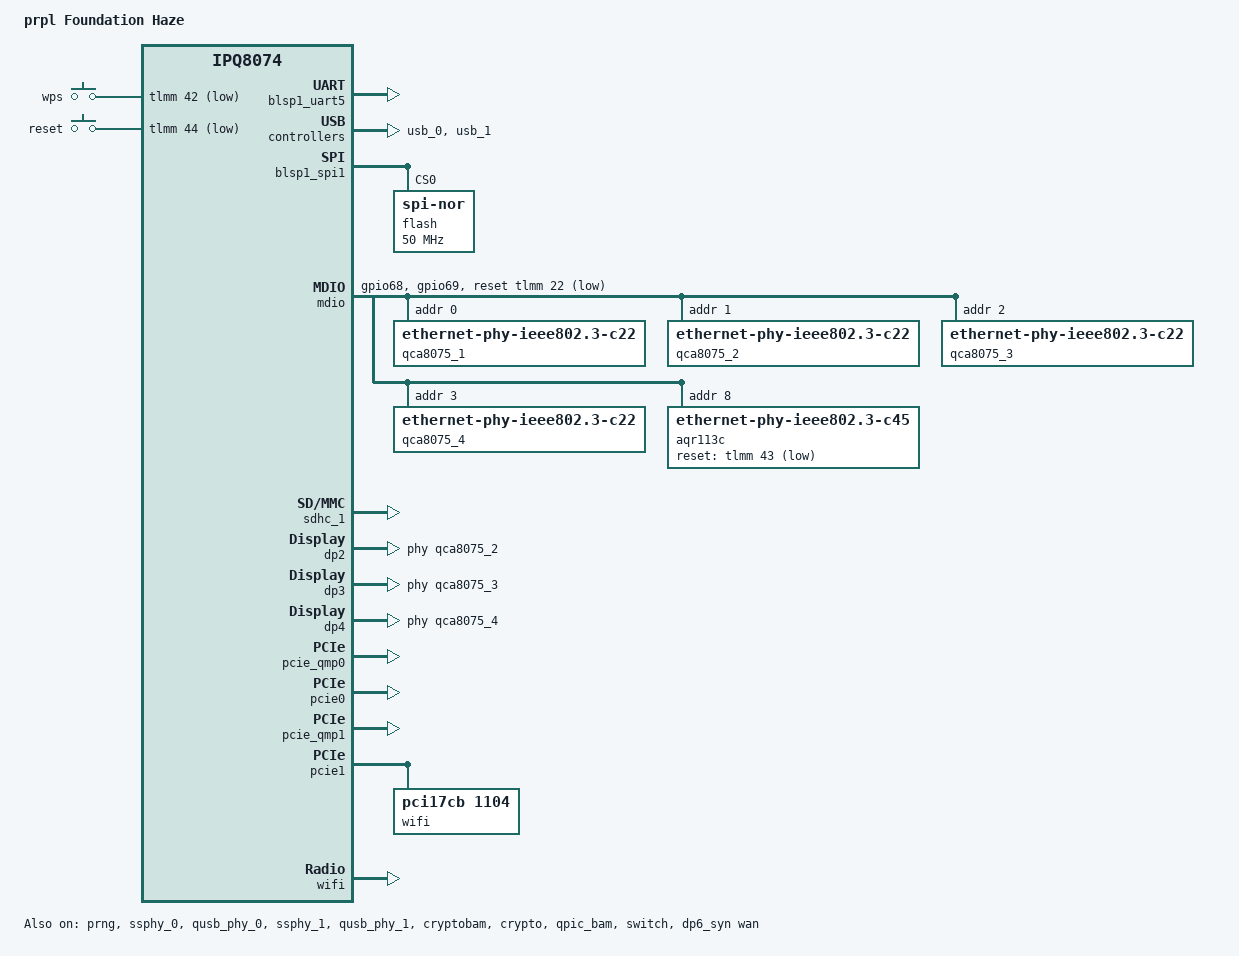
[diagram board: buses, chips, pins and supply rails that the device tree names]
// SPDX-License-Identifier: GPL-2.0-or-later OR MIT

/dts-v1/;

#include "ipq8074.dtsi"
#include "ipq8074-hk-cpu.dtsi"
#include "ipq8074-ess.dtsi"
#include "ipq8074-nss.dtsi"
#include <dt-bindings/gpio/gpio.h>
#include <dt-bindings/input/input.h>
#include <dt-bindings/leds/common.h>

/ {
	model = "prpl Foundation Haze";
	compatible = "prpl,haze", "qcom,ipq8074";

	aliases {
		serial0 = &blsp1_uart5;
		/* Aliases are required by U-Boot to patch MAC addresses */
		ethernet0 = &dp6_syn;
		ethernet1 = &dp4;
		ethernet2 = &dp3;
		ethernet3 = &dp2;
		label-mac-device = &dp6_syn;
	};

	chosen {
		stdout-path = "serial0:115200n8";
	};

	keys {
		compatible = "gpio-keys";
		pinctrl-0 = <&button_pins>;
		pinctrl-names = "default";

		wps-button {
			label = "wps";
			gpios = <&tlmm 42 GPIO_ACTIVE_LOW>;
			linux,code = <KEY_WPS_BUTTON>;
		};

		reset-button {
			label = "reset";
			gpios = <&tlmm 44 GPIO_ACTIVE_LOW>;
			linux,code = <KEY_RESTART>;
		};
	};
};

&tlmm {
	mdio_pins: mdio-state {
		mdc-pins {
			pins = "gpio68";
			function = "mdc";
			drive-strength = <8>;
			bias-pull-up;
		};

		mdio-pins {
			pins = "gpio69";
			function = "mdio";
			drive-strength = <8>;
			bias-pull-up;
		};
	};

	button_pins: button-state {
		wps-pins {
			pins = "gpio42";
			function = "gpio";
			drive-strength = <8>;
			bias-pull-up;
		};

		rst-pins {
			pins = "gpio44";
			function = "gpio";
			drive-strength = <8>;
			bias-pull-up;
		};
	};
};

&blsp1_uart5 {
	status = "okay";
};

&prng {
	status = "okay";
};

&ssphy_0 {
	status = "okay";
};

&qusb_phy_0 {
	status = "okay";
};

&ssphy_1 {
	status = "okay";
};

&qusb_phy_1 {
	status = "okay";
};

&usb_0 {
	status = "okay";
};

&usb_1 {
	status = "okay";
};

&cryptobam {
	status = "okay";
};

&crypto {
	status = "okay";
};

&qpic_bam {
	status = "okay";
};

&blsp1_spi1 {
	pinctrl-0 = <&spi_0_pins>;
	pinctrl-names = "default";
	cs-gpios = <0>;
	status = "okay";

	flash@0 {
		#address-cells = <1>;
		#size-cells = <1>;
		reg = <0>;
		compatible = "jedec,spi-nor";
		spi-max-frequency = <50000000>;

		partitions {
			compatible = "qcom,smem-part";
		};
	};
};

&mdio {
	status = "okay";

	pinctrl-0 = <&mdio_pins>;
	pinctrl-names = "default";
	reset-gpios = <&tlmm 22 GPIO_ACTIVE_LOW>;

	qca8075_1: ethernet-phy@0 {
		compatible = "ethernet-phy-ieee802.3-c22";
		reg = <0>;
	};

	qca8075_2: ethernet-phy@1 {
		compatible = "ethernet-phy-ieee802.3-c22";
		reg = <1>;
	};

	qca8075_3: ethernet-phy@2 {
		compatible = "ethernet-phy-ieee802.3-c22";
		reg = <2>;
	};

	qca8075_4: ethernet-phy@3 {
		compatible = "ethernet-phy-ieee802.3-c22";
		reg = <3>;
	};

	aqr113c: ethernet-phy@5 {
		compatible ="ethernet-phy-ieee802.3-c45";
		reg = <8>;
		reset-gpios = <&tlmm 43 GPIO_ACTIVE_LOW>;
	};
};

&sdhc_1 {
	status = "okay";

	vqmmc-supply = <&l11>;
};

&switch {
	status = "okay";

	switch_cpu_bmp = <0x1>;  /* cpu port bitmap */
	switch_lan_bmp = <0x1e>; /* lan port bitmap */
	switch_wan_bmp = <0x60>; /* wan port bitmap */
	switch_mac_mode = <0x0>; /* mac mode for uniphy instance0*/
	switch_mac_mode1 = <0xe>; /* mac mode for uniphy instance1*/
	switch_mac_mode2 = <0xd>; /* mac mode for uniphy instance2*/
	bm_tick_mode = <0>; /* bm tick mode */
	tm_tick_mode = <0>; /* tm tick mode */

	qcom,port_phyinfo {
		port@0 {
			port_id = <1>;
			phy_address = <0>;
		};
		port@1 {
			port_id = <2>;
			phy_address = <1>;
		};
		port@2 {
			port_id = <3>;
			phy_address = <2>;
		};
		port@3 {
			port_id = <4>;
			phy_address = <3>;
		};
		port@4 {
			port_id = <6>;
			phy_address = <8>;
			compatible = "ethernet-phy-ieee802.3-c45";
			ethernet-phy-ieee802.3-c45;
		};
	};
};

&edma {
	status = "okay";
};

/* Dummy LAN port */
&dp1 {
	status = "disabled";
	phy-handle = <&qca8075_1>;
	label = "lan4";
};

&dp2 {
	status = "okay";
	phy-handle = <&qca8075_2>;
	label = "lan3";
};

&dp3 {
	status = "okay";
	phy-handle = <&qca8075_3>;
	label = "lan2";
};

&dp4 {
	status = "okay";
	phy-handle = <&qca8075_4>;
	label = "lan1";
};

&dp6_syn {
	status = "okay";
	qcom,mactype = <1>;
	phy-handle = <&aqr113c>;
	label = "wan";
};

&pcie_qmp0 {
	status = "okay";
};

&pcie0 {
	status = "okay";

	perst-gpio = <&tlmm 58 GPIO_ACTIVE_LOW>;

	bridge@0,0 {
		reg = <0x00020000 0 0 0 0>;
		#address-cells = <3>;
		#size-cells = <2>;
		ranges;
	};
};

&pcie_qmp1 {
	status = "okay";
};

&pcie1 {
	status = "okay";

	perst-gpio = <&tlmm 61 GPIO_ACTIVE_LOW>;

	bridge@1,0 {
		reg = <0x00010000 0 0 0 0>;
		#address-cells = <3>;
		#size-cells = <2>;
		ranges;

		wifi@1,0 {
			status = "okay";

			compatible = "pci17cb,1104";
			reg = <0x00010000 0 0 0 0>;

			qcom,ath11k-calibration-variant = "prpl-Haze";
		};
	};
};

&wifi {
	status = "okay";

	qcom,ath11k-calibration-variant = "prpl-Haze";
};
